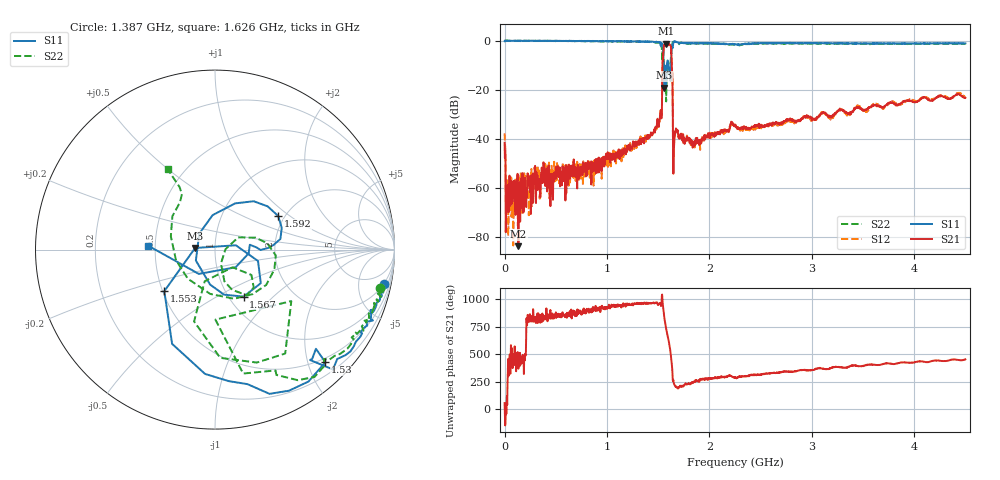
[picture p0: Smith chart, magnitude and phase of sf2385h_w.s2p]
!Agilent Technologies,E5071C,MY46104097,A.08.12
!Date: Sat Dec 01 15:35:24 2018
!Data & Calibration Information:
!Freq	S11:SOLT2(ON)	S21:SOLT2(ON)	S12:SOLT2(ON)	S22:SOLT2(ON)
# Hz S RI R 50
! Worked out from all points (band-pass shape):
!   1601 points, 100 kHz to 4.5 GHz, reference 50 ohm
!   highest |S21| = -1.15 dB at 1.575 GHz (marker M1); lowest = -83.6 dB at 135.1 MHz (marker M2)
!   |S21| within 3 dB of the highest: 1.551 GHz to 1.627 GHz (76.25 MHz wide, 4.8 % of centre)
!   lowest |S11| = -19.1 dB at 1.555 GHz (marker M3), VSWR 1.25, Z = 40 + j0.738 ohm
!   |S11| at or under -10 dB: 1.553 GHz to 1.564 GHz (10.9 MHz wide, 0.7 % of centre); 1.564 GHz to 1.585 GHz (21.24 MHz wide, 1.35 % of centre); 1.601 GHz to 1.625 GHz (23.82 MHz wide, 1.48 % of centre)
!   |S22| runs from -24.7 to 0.1 dB; largest |S21 - S12| = 0.038
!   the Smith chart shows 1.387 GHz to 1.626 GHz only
!   S11 on the Smith chart (normalised r, x): 1.387 GHz: 2.01, -9.52; 1.53 GHz: 0.42, -2.31; 1.553 GHz: 0.51, -0.27; 1.567 GHz: 1.17, -0.68; 1.592 GHz: 1.84, +0.82; 1.626 GHz: 0.46, +0.02
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100000  0.981 0.00928  0.00448 0.00714  -0.00544 0.0119  1.016 0.009
3.384925e7  0.9975 0.00536  -0.000137 0.00106  0.00084 -0.000352  1.004 -0.00427
1.35097e8  0.999 -0.0126  6.53e-05 1.16e-05  -0.000924 0.00139  1.003 -0.0155
3.15093e8  0.9987 -0.00662  -0.000632 0.000676  -0.000706 0.00151  0.9887 -0.0293
7.510208e8  0.9917 -0.0277  -0.00274 0.000409  -0.00285 0.00113  0.9768 -0.053
1.386632e9  0.9396 -0.191  -0.00411 -0.00933  -0.00458 -0.0105  0.92 -0.2145
1.501942e9  0.8086 -0.487  -0.0126 -0.014  -0.013 -0.0148  0.7725 -0.4977
1.530066e9  0.6151 -0.628  -0.0166 -0.0204  -0.0162 -0.0203  0.3423 -0.6983
1.552566e9  -0.2824 -0.2316  -0.7184 0.0496  -0.7275 0.059  -0.1167 -0.4004
1.555378e9  -0.1108 0.00911  -0.7034 0.4112  -0.699 0.4253  -0.0575 -0.1765
1.566628e9  0.1595 -0.2619  0.221 0.7945  0.2253 0.786  0.1764 -0.2546
1.575065e9  -0.1066 -0.0608  0.7664 0.4254  0.7728 0.4281  0.0333 -0.077
1.59194e9  0.3514 0.188  0.5083 -0.6283  0.4905 -0.6489  0.3306 -0.1115
1.614439e9  0.1942 0.027  -0.7817 -0.2799  -0.7582 -0.2809  -0.2376 0.1854
1.625689e9  -0.3739 0.0226  -0.2671 0.6357  -0.2997 0.6422  -0.2636 0.4472
1.651001e9  0.4747 0.8269  -0.00212 -0.004  -0.00121 -0.00418  0.5521 0.7771
1.667875e9  0.7258 0.6424  -0.0116 -0.00653  -0.012 -0.00797  0.7279 0.6088
1.797248e9  0.8584 0.2838  -0.0066 -0.00837  -0.00658 -0.00799  0.8438 0.2631
2.25005e9  0.8042 0.2436  0.00672 -0.0169  0.00671 -0.0173  0.7922 0.2402
3.000971e9  0.7876 0.4191  0.0275 -0.00136  0.0242 -0.00058  0.7484 0.4632
3.751892e9  0.6411 0.6116  0.0285 0.047  0.0237 0.0486  0.5504 0.6631
4.5e9  0.3786 0.8023  -0.00562 0.0691  -0.00561 0.0727  0.2628 0.8341
